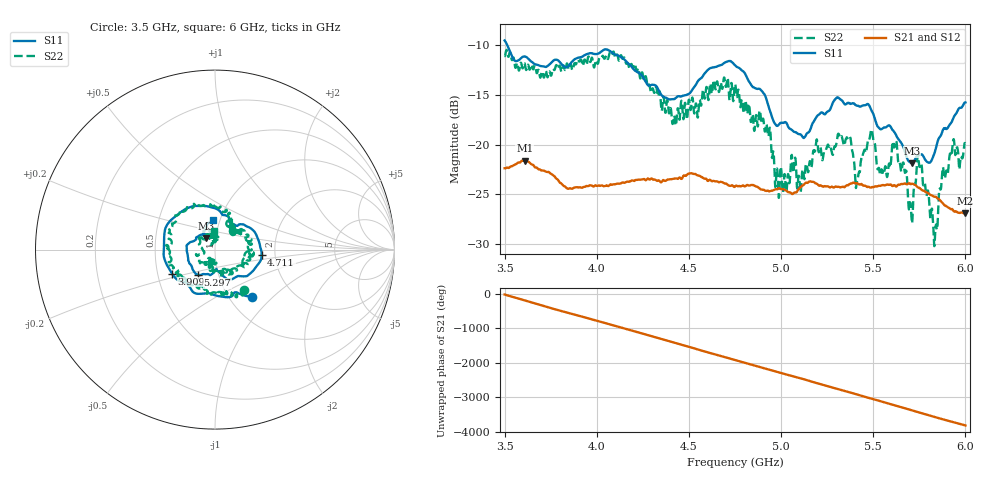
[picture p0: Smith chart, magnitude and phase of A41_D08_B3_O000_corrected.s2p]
! Created with skrf 1.9.0 (http://scikit-rf.org).
# Hz S RI R 50.0
!freq ReS11 ImS11 ReS21 ImS21 ReS12 ImS12 ReS22 ImS22
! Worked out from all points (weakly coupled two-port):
!   1601 points, 3.5 GHz to 6 GHz, reference 50 ohm
!   highest |S21| = -21.60 dB at 3.609 GHz (marker M1); lowest = -26.9 dB at 6 GHz (marker M2)
!   lowest |S11| = -21.9 dB at 5.711 GHz (marker M3), VSWR 1.17, Z = 44.8 + j5.62 ohm
!   |S11| at or under -10 dB: 3.514 GHz to end of sweep
!   |S22| runs from -30.2 to -10.5 dB; largest |S21 - S12| = 0.001
!   S11 on the Smith chart (normalised r, x): 3.5 GHz: 1.27, -0.75; 3.909 GHz: 0.59, -0.17; 4.711 GHz: 1.70, -0.12; 5.297 GHz: 0.80, -0.23; 6 GHz: 0.93, +0.31
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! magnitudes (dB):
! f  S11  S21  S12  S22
! 3.5 GHz  -9.5  -22.4  -22.4  -11.1
! 3.609 GHz  -11.2  -21.6  -21.6  -11.9
! 3.909 GHz  -11.2  -24.3  -24.3  -11.6
! 3.917 GHz  -11.2  -24.3  -24.3  -11.6
! 4.334 GHz  -14.5  -23.6  -23.5  -15.1
! 4.42 GHz  -15.4  -23.4  -23.4  -17.1
! 4.711 GHz  -11.6  -24.1  -24.0  -13.4
! 4.75 GHz  -12.0  -24.2  -24.2  -13.9
! 4.93 GHz  -16.0  -24.6  -24.6  -19.1
! 4.98 GHz  -18.1  -24.5  -24.5  -22.6
! 5.167 GHz  -18.0  -23.7  -23.7  -22.0
! 5.297 GHz  -15.4  -24.2  -24.2  -20.1
! 5.369 GHz  -15.8  -24.0  -24.0  -19.3
! 5.414 GHz  -16.1  -23.9  -23.9  -23.5
! 5.491 GHz  -16.6  -24.3  -24.3  -18.5
! 5.584 GHz  -18.1  -24.0  -24.0  -22.0
! 5.617 GHz  -18.8  -24.1  -24.1  -20.1
! 5.711 GHz  -21.9  -23.9  -23.9  -27.9
! 5.752 GHz  -21.0  -24.4  -24.4  -22.2
! 5.838 GHz  -20.5  -25.2  -25.2  -28.3
! 5.927 GHz  -17.7  -26.5  -26.4  -20.8
! 6 GHz  -15.8  -26.9  -26.9  -19.9
